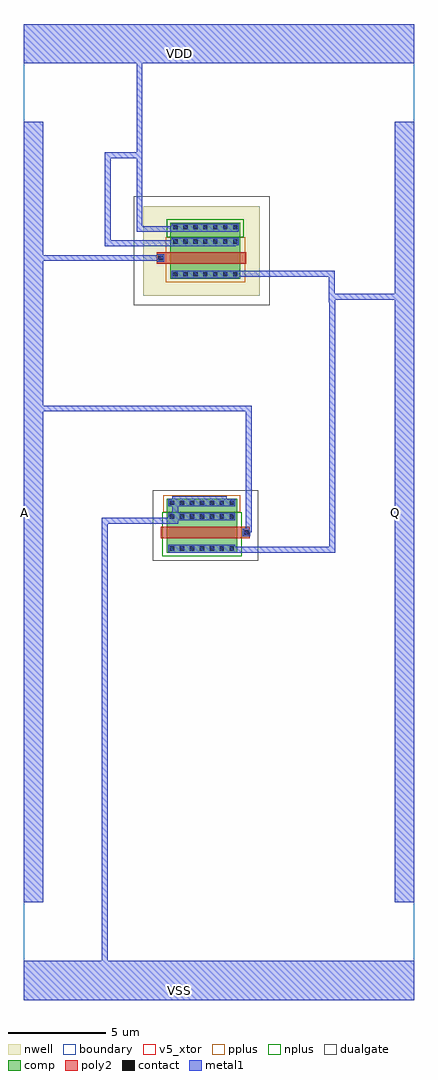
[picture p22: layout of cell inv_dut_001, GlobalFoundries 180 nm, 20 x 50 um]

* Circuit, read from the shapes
.subckt inv_dut_001 A Q VDD VSS
XM1 VSS A Q VSS nfet_05v0 w=3.6u l=0.6u
XM2 VDD A Q VDD pfet_05v0 w=3.6u l=0.6u
.ends

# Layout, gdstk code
from math import pi, radians
import gdstk
lib = gdstk.Library(unit=1e-6, precision=1e-09)
def R(c, l, rs):  # rectangles x0, y0, x1, y1
    for r in rs: c.add(gdstk.rectangle(r[:2], r[2:], *l))
def A(c, l, x, y, w, h, nx, ny, dx, dy):  # array of equal rectangles
    R(c, l, [(x+i*dx, y+j*dy, x+i*dx+w, y+j*dy+h) for i in range(nx) for j in range(ny)])
boundary = (0, 0)
nwell = (21, 0)
comp = (22, 0)
poly2 = (30, 0)
pplus = (31, 0)
nplus = (32, 0)
contact = (33, 0)
metal1 = (34, 0)
dualgate = (55, 0)
v5_xtor = (112, 1)

nfet_14 = lib.new_cell('nfet$14')
R(nfet_14, comp, [(-0.42,0,2.35,3.6)])
R(nfet_14, poly2, [(0.31,-0.3,0.91,4.26)])
R(nfet_14, pplus, [(1.64,-0.17,2.52,3.77)])
R(nfet_14, nplus, [(-0.59,-0.24,1.64,3.84)])
A(nfet_14, contact, -0.32, 0.16, 0.22, 0.22, 1, 7, 0, 0.51)
A(nfet_14, contact, 1.32, 0.16, 0.22, 0.22, 1, 7, 0, 0.51)
A(nfet_14, contact, 2.03, 0.16, 0.22, 0.22, 1, 7, 0, 0.51)
R(nfet_14, contact, [(0.5,3.97,0.72,4.19)])
R(nfet_14, metal1, [(-0.4,0.08,-0.02,3.52), (1.24,0.08,1.62,3.52), (1.95,0.08,2.33,3.52), (0.42,3.89,0.8,4.27)])
R(nfet_14, dualgate, [(-0.84,-0.71,2.77,4.68)])
R(nfet_14, v5_xtor, [(-0.84,-0.71,2.77,4.68)])

pfet_8 = lib.new_cell('pfet$8')
R(pfet_8, nwell, [(-1.32,-0.99,3.27,4.97)])
R(pfet_8, comp, [(-0.46,0,2.41,3.6)])
R(pfet_8, poly2, [(0.31,-0.3,0.91,4.28)])
R(pfet_8, pplus, [(-0.63,-0.24,1.68,3.84)])
R(pfet_8, nplus, [(1.68,-0.17,2.58,3.77)])
A(pfet_8, contact, -0.34, 0.16, 0.22, 0.22, 1, 7, 0, 0.51)
A(pfet_8, contact, 1.34, 0.16, 0.22, 0.22, 1, 7, 0, 0.51)
A(pfet_8, contact, 2.07, 0.16, 0.22, 0.22, 1, 7, 0, 0.51)
R(pfet_8, contact, [(0.5,3.98,0.72,4.2)])
R(pfet_8, metal1, [(-0.42,0.08,-0.04,3.52), (1.26,0.08,1.64,3.52), (1.99,0.08,2.37,3.52), (0.42,3.9,0.8,4.28)])
R(pfet_8, dualgate, [(-1.82,-1.49,3.77,5.47)])
R(pfet_8, v5_xtor, [(-1.82,-1.49,3.77,5.47)])

inv_dut_001 = lib.new_cell('inv_dut_001')
R(inv_dut_001, boundary, [(-10,-25,10,25)])
R(inv_dut_001, metal1, [(-10,-25,10,-23), (-10,-20,-9,20), (9,-20,10,20), (-10,23,10,25)])
inv_dut_001.add(gdstk.FlexPath([(9.43,11.03),(5.795,11.03),(5.795,-1.94),(-2.35,-1.94),(-2.35,-1.915)], 0.3, ends="flush", simple_path=True, layer=34, datatype=0))  # metal1
inv_dut_001.add(gdstk.FlexPath([(1.53,-1.04),(1.53,5.305),(-9.575,5.305)], 0.3, ends="flush", simple_path=True, layer=34, datatype=0))  # metal1
inv_dut_001.add(gdstk.FlexPath([(0.385,0.655),(-2.245,0.655),(-2.245,-0.44),(-5.855,-0.44),(-5.855,-24.125)], 0.3, ends="flush", simple_path=True, layer=34, datatype=0))  # metal1
inv_dut_001.add(gdstk.FlexPath([(-2.98,13.01),(-9.475,13.01)], 0.3, ends="flush", simple_path=True, layer=34, datatype=0))  # metal1
inv_dut_001.add(gdstk.FlexPath([(-4.07,24.24),(-4.07,14.5),(0.98,14.5)], 0.3, ends="flush", simple_path=True, layer=34, datatype=0))  # metal1
inv_dut_001.add(gdstk.FlexPath([(0.87,13.775),(-5.705,13.775),(-5.705,18.28),(-4.105,18.28)], 0.3, ends="flush", simple_path=True, layer=34, datatype=0))  # metal1
inv_dut_001.add(gdstk.FlexPath([(-2.225,12.21),(5.775,12.21),(5.775,10.745)], 0.3, ends="flush", simple_path=True, layer=34, datatype=0))  # metal1
inv_dut_001.add(gdstk.Reference(nfet_14, (-2.675,-1.665), rotation=pi/2, x_reflection=True))
inv_dut_001.add(gdstk.Reference(pfet_8, (1.1,12.405), rotation=pi/2))
inv_dut_001.add(gdstk.Label('VDD', (-2,23.5), layer=34, texttype=10))
inv_dut_001.add(gdstk.Label('VSS', (-2,-24.5), layer=34, texttype=10))
inv_dut_001.add(gdstk.Label('A', (-9.97,0), layer=34, texttype=10))
inv_dut_001.add(gdstk.Label('Q', (9.03,0), layer=34, texttype=10))

lib.write_gds('inv_dut_001.gds')
